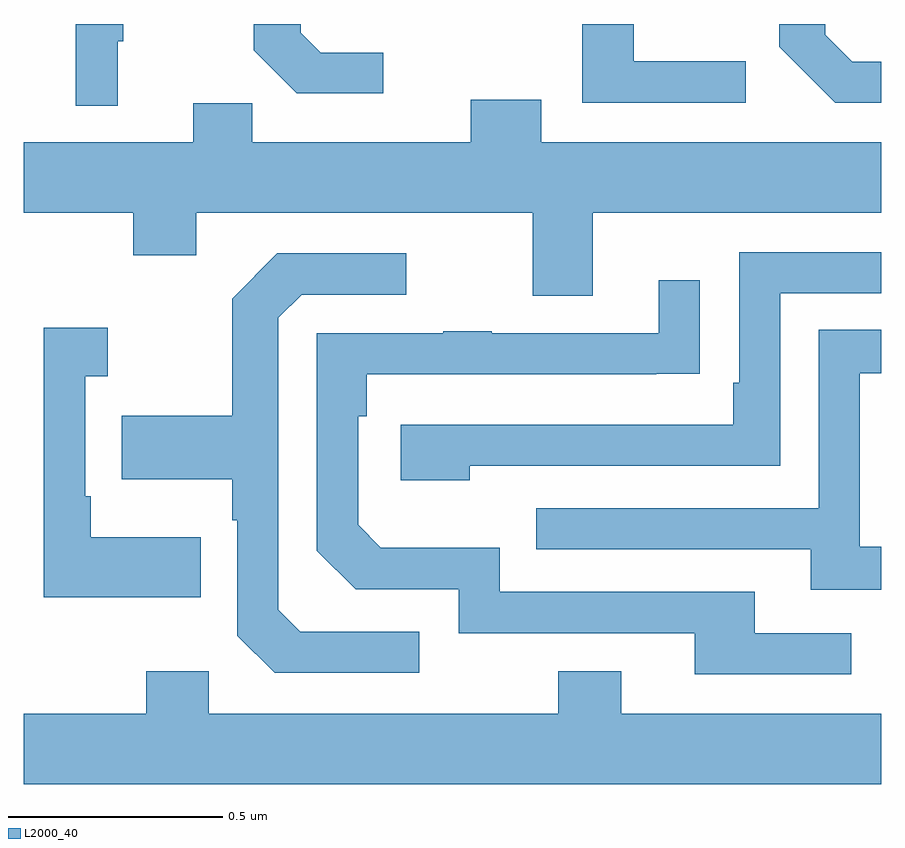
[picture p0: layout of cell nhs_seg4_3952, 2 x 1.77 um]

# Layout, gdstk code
import gdstk
lib = gdstk.Library(unit=1e-6, precision=1e-09)
def P(c, l, *ps):  # polygons
    for p in ps: c.add(gdstk.Polygon(p, *l))
L2000_40 = (2000, 40)

nhs_seg4_3952 = lib.new_cell('nhs_seg4_3952')
P(nhs_seg4_3952, L2000_40, [(159.838,823.833),(159.693,823.833),(159.646,823.88),(159.646,823.9),(159.537,823.9),(159.537,823.839),(159.637,823.739),(159.838,823.739)],
  [(159.22,823.86),(159.232,823.86),(159.232,823.9),(159.122,823.9),(159.122,823.709),(159.22,823.709)],
  [(160.684,823.813),(160.423,823.813),(160.423,823.9),(160.302,823.9),(160.302,823.716),(160.684,823.716)],
  [(161,823.812),(160.932,823.812),(160.869,823.875),(160.869,823.9),(160.762,823.9),(160.762,823.847),(160.892,823.716),(161,823.716)],
  [(160.327,823.46),(161,823.46),(161,823.624),(160.207,823.624),(160.207,823.723),(160.043,823.723),(160.043,823.624),(159.533,823.624),(159.533,823.715),(159.395,823.715),(159.395,823.624),(159,823.624),(159,823.46),(159.256,823.46),(159.256,823.361),(159.403,823.361),(159.403,823.46),(160.187,823.46),(160.187,823.266),(160.327,823.266)],
  [(160.04,822.87),(160.764,822.87),(160.764,823.272),(161,823.272),(161,823.368),(160.668,823.368),(160.668,823.063),(160.655,823.063),(160.655,822.966),(159.879,822.966),(159.879,822.836),(160.04,822.836)],
  [(159.922,822.483),(159.645,822.483),(159.594,822.534),(159.594,823.215),(159.648,823.269),(159.892,823.269),(159.892,823.365),(159.591,823.365),(159.486,823.259),(159.486,822.987),(159.229,822.987),(159.229,822.839),(159.486,822.839),(159.486,822.743),(159.498,822.743),(159.498,822.474),(159.585,822.387),(159.922,822.387)],
  [(160.93,822.48),(160.705,822.48),(160.705,822.576),(160.11,822.576),(160.11,822.679),(159.833,822.679),(159.78,822.732),(159.78,822.986),(159.8,822.986),(159.8,823.083),(160.475,823.083),(160.475,823.084),(160.577,823.084),(160.577,823.303),(160.481,823.303),(160.481,823.179),(160.091,823.179),(160.091,823.184),(159.979,823.184),(159.979,823.179),(159.684,823.179),(159.684,822.672),(159.774,822.582),(160.014,822.582),(160.014,822.48),(160.565,822.48),(160.565,822.384),(160.93,822.384)],
  [(159.413,822.703),(159.157,822.703),(159.157,822.799),(159.144,822.799),(159.144,823.079),(159.196,823.079),(159.196,823.192),(159.047,823.192),(159.047,822.563),(159.413,822.563)],
  [(161,822.681),(160.95,822.681),(160.95,823.086),(161,823.086),(161,823.187),(160.854,823.187),(160.854,822.771),(160.195,822.771),(160.195,822.675),(160.835,822.675),(160.835,822.581),(161,822.581)],
  [(161,822.292),(160.393,822.292),(160.393,822.391),(160.246,822.391),(160.246,822.292),(159.432,822.292),(159.432,822.391),(159.286,822.391),(159.286,822.292),(159,822.292),(159,822.128),(161,822.128)])

lib.write_gds('nhs_seg4_3952.gds')
